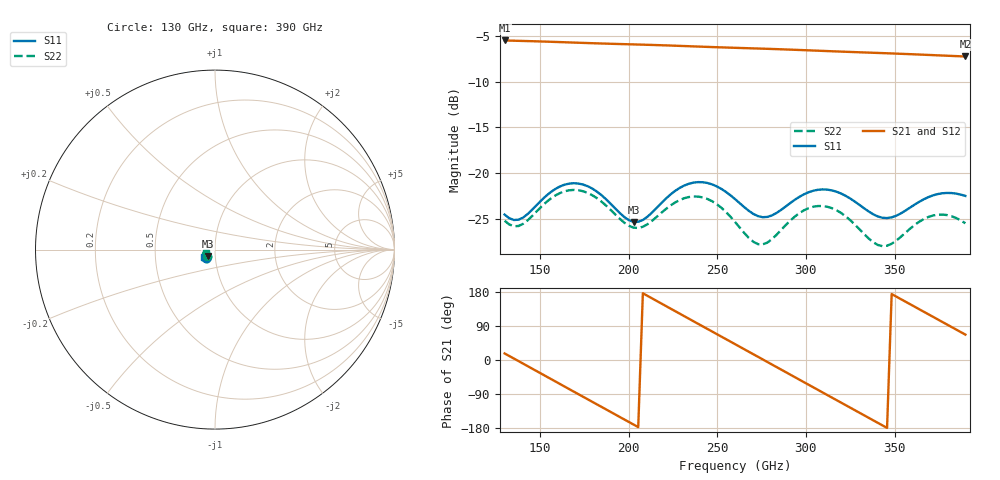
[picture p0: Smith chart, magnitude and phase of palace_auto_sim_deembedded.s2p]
! Created with skrf 1.11.0 (http://scikit-rf.org).
# GHz S DB R 50.0
!freq dBS11 angS11 dBS21 angS21 dBS12 angS12 dBS22 angS22
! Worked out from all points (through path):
!   101 points, 130 GHz to 390 GHz, reference 50 ohm
!   highest |S21| = -5.52 dB at 130 GHz (marker M1); lowest = -7.3 dB at 390 GHz (marker M2)
!   group delay of S21, straight-line fit = 7.16 ps
!   lowest |S11| = -25.3 dB at 202.8 GHz (marker M3), VSWR 1.11, Z = 46.1 - j3.45 ohm
!   |S11| at or under -10 dB: start of sweep to end of sweep
!   |S22| runs from -28.0 to -21.8 dB; largest |S21 - S12| = 6.1e-14
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130  -24.51 -136.1  -5.52 17.3  -5.52 17.3  -25.19 -140.3
137.8  -25.08 -124.5  -5.56 -2.8  -5.56 -2.8  -25.76 -129.0
148.2  -23.45 -115.4  -5.62 -29.6  -5.62 -29.6  -24.14 -120.6
161.2  -21.45 -122.6  -5.70 -63.2  -5.70 -63.2  -22.17 -128.8
174.2  -21.23 -136.8  -5.78 -96.8  -5.78 -96.8  -21.96 -143.8
189.8  -23.33 -147.3  -5.88 -137.0  -5.88 -137.0  -24.00 -155.8
202.8  -25.31 -136.6  -5.95 -170.5  -5.95 -170.5  -25.94 -147.9
218.4  -23.27 -122.1  -6.04 149.2  -6.04 149.2  -24.33 -136.2
228.8  -21.60 -127.1  -6.11 122.3  -6.11 122.3  -22.92 -142.1
239.2  -20.97 -137.2  -6.18 95.5  -6.18 95.5  -22.55 -153.0
249.6  -21.42 -147.3  -6.26 68.7  -6.26 68.7  -23.36 -163.9
260  -22.82 -152.8  -6.32 41.9  -6.32 41.9  -25.31 -169.3
273  -24.69 -146.0  -6.40 8.4  -6.40 8.4  -27.74 -156.8
280.8  -24.61 -137.1  -6.45 -11.8  -6.45 -11.8  -27.20 -144.2
291.2  -23.25 -132.1  -6.52 -38.6  -6.52 -38.6  -25.17 -140.2
304.2  -21.91 -137.9  -6.62 -72.2  -6.62 -72.2  -23.66 -149.7
322.4  -22.46 -150.8  -6.75 -119.0  -6.75 -119.0  -24.69 -166.3
335.4  -24.17 -151.0  -6.84 -152.5  -6.84 -152.5  -27.12 -165.5
348.4  -24.82 -139.1  -6.94 174.0  -6.94 174.0  -27.69 -148.1
358.8  -23.75 -132.6  -7.01 147.2  -7.01 147.2  -26.05 -142.0
371.8  -22.41 -135.3  -7.12 113.8  -7.12 113.8  -24.61 -148.4
390  -22.48 -144.4  -7.27 67.0  -7.27 67.0  -25.46 -160.6
